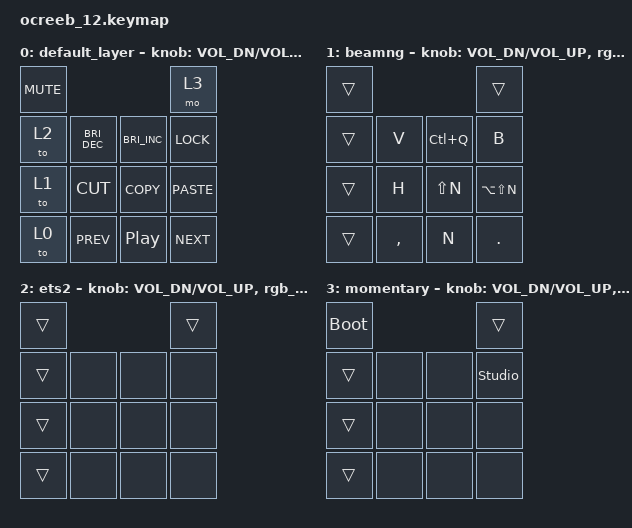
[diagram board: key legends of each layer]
// This file was generated from a template. Edit it to match your keyboard.
// See https://zmk.dev/docs/development/hardware-integration/new-shield for more instructions.

#include <behaviors.dtsi>
#include <dt-bindings/zmk/keys.h>
#include <dt-bindings/zmk/rgb.h>

/ {
    // Define a default keymap here.
    // See https://zmk.dev/docs/development/hardware-integration/new-shield#default-keymap.
    keymap {
        compatible = "zmk,keymap";

        default_layer {
            bindings = <
                &to 2   &kp C_BRIGHTNESS_DEC   &kp C_BRIGHTNESS_INC   &kp K_LOCK
                &to 1   &kp K_CUT              &kp K_COPY             &kp K_PASTE
                &to 0   &kp C_PREV             &kp C_PLAY_PAUSE       &kp C_NEXT
                &kp C_MUTE &mo 3
            >;

            sensor-bindings = <&inc_dec_kp C_VOL_DN C_VOL_UP &rgb_encoder>;
        };

        beamng {
            bindings = <
                &trans &kp V       &kp LC(Q)   &kp B
                &trans &kp H       &kp LS(N)   &kp LA(LS(N))
                &trans &kp COMMA   &kp N       &kp PERIOD
                &trans &trans
            >;

            sensor-bindings = <&inc_dec_kp C_VOL_DN C_VOL_UP &rgb_encoder>;
        };

        ets2 {
            bindings = <
                &trans &none &none &none
                &trans &none &none &none
                &trans &none &none &none
                &trans &trans
            >;

            sensor-bindings = <&inc_dec_kp C_VOL_DN C_VOL_UP &rgb_encoder>;
        };

        momentary {
            bindings = <
                &trans &none &none &studio_unlock
                &trans &none &none &none
                &trans &none &none &none
                &bootloader &trans
            >;

            sensor-bindings = <&inc_dec_kp C_VOL_DN C_VOL_UP &rgb_encoder>;
        };
    };

    behaviors {
        rgb_encoder: rgb_encoder {
            compatible = "zmk,behavior-sensor-rotate";
            #sensor-binding-cells = <0>;
            bindings = <&rgb_ug RGB_HUD>, <&rgb_ug RGB_HUI>;
        };
    };

    combos {
        compatible = "zmk,combos";
        combo_slash {
            timeout-ms = <50>;
            key-positions = <9 11>;
            bindings = <&kp SLASH>;
        };
    };
};
